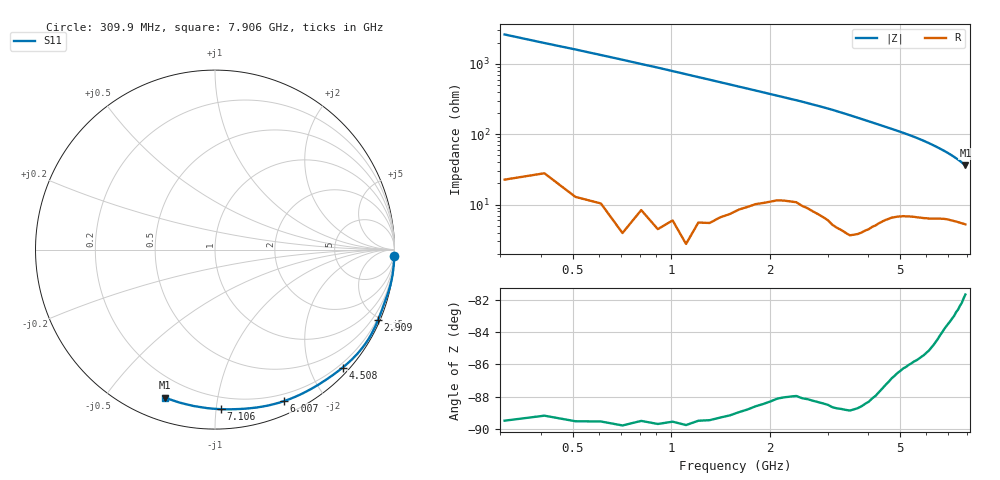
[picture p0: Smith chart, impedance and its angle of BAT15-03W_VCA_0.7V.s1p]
! Infineon Technologies  Discrete & RF Semiconductors
! BAT15-03W-E6327
! VCA = 0.7 V
! One-Port S-Parameters
# Hz  S  MA  R  50
!f  S11
!Hz  Mag  Ang
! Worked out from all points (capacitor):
!   77 points, 309.9 MHz to 7.906 GHz, reference 50 ohm
!   read as one part to ground: C = 196 fF near 309.9 MHz
!   lowest |Z| = 36 ohm at 7.906 GHz (marker M1)
!   S11 on the Smith chart (normalised r, x): 309.9 MHz: 0, -52; 2.909 GHz: 0.13, -4.84; 4.508 GHz: 0.12, -2.55; 6.007 GHz: 0.13, -1.55; 7.106 GHz: 0.12, -1.03; 7.906 GHz: 0.10, -0.71
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3.0985e8  0.9997 -2.2
9.0955e8  0.9994 -6.5
1.30935e9  0.9985 -9.6
1.70915e9  0.9954 -12.8
2.2089e9  0.9901 -17.0
2.50875e9  0.989 -19.5
2.90855e9  0.9892 -23.3
3.2084e9  0.9902 -26.5
3.50825e9  0.9902 -30.0
3.70815e9  0.9881 -32.4
4.10795e9  0.9801 -37.5
4.50775e9  0.9683 -42.8
4.70765e9  0.9618 -45.4
5.10745e9  0.9503 -51.0
5.4073e9  0.9432 -55.4
5.6072e9  0.9385 -58.6
5.8071e9  0.9333 -61.9
6.007e9  0.9277 -65.4
6.2069e9  0.9212 -69.1
6.30685e9  0.9178 -71.1
6.50675e9  0.9101 -75.1
6.70665e9  0.9023 -79.2
7.0065e9  0.8923 -85.7
7.10645e9  0.8896 -88.0
7.30635e9  0.8844 -92.8
7.50625e9  0.8793 -97.8
7.70615e9  0.8749 -103.0
7.90605e9  0.8704 -108.6
